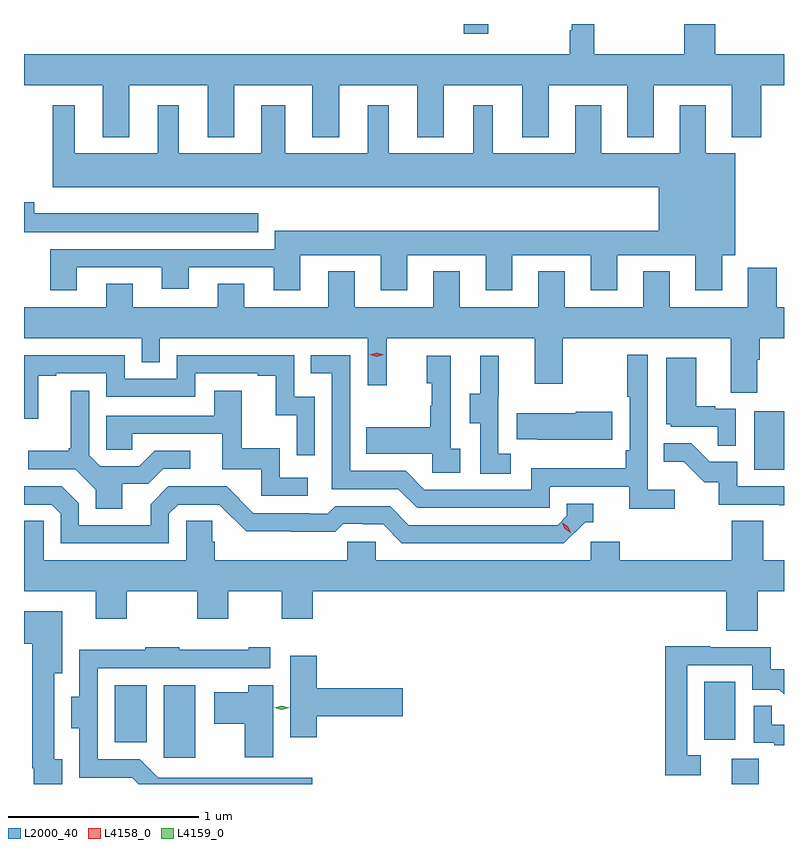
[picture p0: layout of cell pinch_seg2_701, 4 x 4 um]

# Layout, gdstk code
import gdstk
lib = gdstk.Library(unit=1e-6, precision=1e-09)
def R(c, l, rs):  # rectangles x0, y0, x1, y1
    for r in rs: c.add(gdstk.rectangle(r[:2], r[2:], *l))
def P(c, l, *ps):  # polygons
    for p in ps: c.add(gdstk.Polygon(p, *l))
L2000_40 = (2000, 40)
L4158_0 = (4158, 0)
L4159_0 = (4159, 0)

pinch_seg2_701 = lib.new_cell('pinch_seg2_701')
R(pinch_seg2_701, L2000_40, [(1117.181,596.006,1117.321,596.138), (1114.19,596.145,1114.357,596.527), (1113.932,596.225,1114.102,596.527), (1117.034,596.238,1117.198,596.545), (1117.298,597.66,1117.455,597.967), (1115.77,599.955,1115.899,600.006)])
P(pinch_seg2_701, L2000_40, [(1113.455,599.684),(1113.869,599.684),(1113.869,599.411),(1114.009,599.411),(1114.009,599.684),(1114.421,599.684),(1114.421,599.411),(1114.561,599.411),(1114.561,599.684),(1114.973,599.684),(1114.973,599.411),(1115.113,599.411),(1115.113,599.684),(1115.525,599.684),(1115.525,599.411),(1115.665,599.411),(1115.665,599.684),(1116.077,599.684),(1116.077,599.411),(1116.217,599.411),(1116.217,599.684),(1116.629,599.684),(1116.629,599.411),(1116.769,599.411),(1116.769,599.684),(1117.181,599.684),(1117.181,599.411),(1117.334,599.411),(1117.334,599.684),(1117.455,599.684),(1117.455,599.848),(1117.094,599.848),(1117.094,600.006),(1116.929,600.006),(1116.929,599.848),(1116.455,599.848),(1116.455,600.006),(1116.338,600.006),(1116.338,599.972),(1116.327,599.972),(1116.327,599.848),(1113.455,599.848)],
  [(1113.733,598.725),(1114.181,598.725),(1114.181,598.613),(1114.321,598.613),(1114.321,598.725),(1114.769,598.725),(1114.769,598.605),(1114.909,598.605),(1114.909,598.79),(1115.333,598.79),(1115.333,598.605),(1115.473,598.605),(1115.473,598.79),(1115.885,598.79),(1115.885,598.605),(1116.025,598.605),(1116.025,598.79),(1116.437,598.79),(1116.437,598.605),(1116.577,598.605),(1116.577,598.79),(1116.989,598.79),(1116.989,598.605),(1117.129,598.605),(1117.129,598.79),(1117.198,598.79),(1117.198,599.326),(1117.042,599.326),(1117.042,599.578),(1116.905,599.578),(1116.905,599.326),(1116.493,599.326),(1116.493,599.578),(1116.356,599.578),(1116.356,599.326),(1115.923,599.326),(1115.923,599.578),(1115.819,599.578),(1115.819,599.326),(1115.374,599.326),(1115.374,599.578),(1115.264,599.578),(1115.264,599.326),(1114.831,599.326),(1114.831,599.578),(1114.703,599.578),(1114.703,599.326),(1114.27,599.326),(1114.27,599.578),(1114.16,599.578),(1114.16,599.326),(1113.721,599.326),(1113.721,599.578),(1113.605,599.578),(1113.605,599.147),(1116.797,599.147),(1116.797,598.918),(1114.775,598.918),(1114.775,598.821),(1113.593,598.821),(1113.593,598.605),(1113.733,598.605)],
  [(1114.687,599.011),(1113.508,599.011),(1113.508,599.068),(1113.455,599.068),(1113.455,598.91),(1114.687,598.91)],
  [(1117.315,598.24),(1117.328,598.24),(1117.328,598.352),(1117.455,598.352),(1117.455,598.516),(1117.418,598.516),(1117.418,598.723),(1117.265,598.723),(1117.265,598.516),(1116.853,598.516),(1116.853,598.705),(1116.713,598.705),(1116.713,598.516),(1116.301,598.516),(1116.301,598.705),(1116.161,598.705),(1116.161,598.516),(1115.749,598.516),(1115.749,598.705),(1115.609,598.705),(1115.609,598.516),(1115.197,598.516),(1115.197,598.705),(1115.057,598.705),(1115.057,598.516),(1114.615,598.516),(1114.615,598.64),(1114.475,598.64),(1114.475,598.516),(1114.027,598.516),(1114.027,598.64),(1113.887,598.64),(1113.887,598.516),(1113.455,598.516),(1113.455,598.352),(1114.074,598.352),(1114.074,598.225),(1114.17,598.225),(1114.17,598.352),(1115.265,598.352),(1115.265,598.104),(1115.363,598.104),(1115.363,598.352),(1116.143,598.352),(1116.143,598.113),(1116.291,598.113),(1116.291,598.352),(1117.175,598.352),(1117.175,598.066),(1117.315,598.066)],
  [(1116.88,597.556),(1116.738,597.556),(1116.738,598.264),(1116.63,598.264),(1116.63,598.045),(1116.642,598.045),(1116.642,597.763),(1116.622,597.763),(1116.622,597.667),(1116.126,597.667),(1116.126,597.555),(1115.562,597.555),(1115.463,597.654),(1115.172,597.654),(1115.172,598.263),(1114.963,598.263),(1114.963,598.167),(1115.076,598.167),(1115.076,597.558),(1115.426,597.558),(1115.525,597.459),(1116.222,597.459),(1116.222,597.57),(1116.641,597.57),(1116.641,597.454),(1116.88,597.454)],
  [(1114.986,598.044),(1114.878,598.044),(1114.878,598.263),(1114.26,598.263),(1114.26,598.14),(1113.984,598.14),(1113.984,598.263),(1113.455,598.263),(1113.455,597.929),(1113.529,597.929),(1113.529,598.155),(1113.625,598.155),(1113.625,598.167),(1113.888,598.167),(1113.888,598.044),(1114.356,598.044),(1114.356,598.167),(1114.685,598.167),(1114.685,598.155),(1114.781,598.155),(1114.781,597.947),(1114.89,597.947),(1114.89,597.735),(1114.986,597.735)],
  [(1116.016,597.743),(1115.952,597.743),(1115.952,598.047),(1115.954,598.047),(1115.954,598.261),(1115.855,598.261),(1115.855,598.059),(1115.801,598.059),(1115.801,597.904),(1115.856,597.904),(1115.856,597.64),(1116.016,597.64)],
  [(1115.752,597.77),(1115.7,597.77),(1115.7,598.261),(1115.576,598.261),(1115.576,598.116),(1115.602,598.116),(1115.602,597.998),(1115.592,597.998),(1115.592,597.883),(1115.257,597.883),(1115.257,597.743),(1115.604,597.743),(1115.604,597.645),(1115.752,597.645)],
  [(1117.2,597.981),(1117.094,597.981),(1117.094,597.994),(1116.994,597.994),(1116.994,598.249),(1116.836,598.249),(1116.836,597.9),(1116.858,597.9),(1116.858,597.885),(1117.105,597.885),(1117.105,597.787),(1117.2,597.787)],
  [(1113.973,597.586),(1114.108,597.586),(1114.188,597.666),(1114.33,597.666),(1114.33,597.759),(1114.142,597.759),(1114.061,597.678),(1113.855,597.678),(1113.798,597.735),(1113.798,598.075),(1113.701,598.075),(1113.701,597.772),(1113.69,597.772),(1113.69,597.76),(1113.477,597.76),(1113.477,597.663),(1113.726,597.663),(1113.833,597.556),(1113.833,597.454),(1113.973,597.454)],
  [(1114.948,597.618),(1114.8,597.618),(1114.8,597.772),(1114.601,597.772),(1114.601,598.075),(1114.457,598.075),(1114.457,597.945),(1113.888,597.945),(1113.888,597.765),(1114.025,597.765),(1114.025,597.849),(1114.499,597.849),(1114.499,597.663),(1114.704,597.663),(1114.704,597.522),(1114.948,597.522)],
  [(1116.55,597.966),(1116.359,597.966),(1116.359,597.958),(1116.049,597.958),(1116.049,597.821),(1116.157,597.821),(1116.157,597.818),(1116.55,597.818)],
  [(1117.455,597.573),(1117.209,597.573),(1117.209,597.702),(1117.065,597.702),(1116.967,597.8),(1116.823,597.8),(1116.823,597.701),(1116.927,597.701),(1117.034,597.594),(1117.111,597.594),(1117.111,597.477),(1117.429,597.477),(1117.429,597.472),(1117.455,597.472)],
  [(1114.218,597.429),(1114.266,597.477),(1114.482,597.477),(1114.624,597.335),(1114.86,597.335),(1114.86,597.333),(1115.093,597.333),(1115.135,597.375),(1115.238,597.375),(1115.238,597.372),(1115.345,597.372),(1115.444,597.273),(1116.297,597.273),(1116.408,597.384),(1116.451,597.384),(1116.451,597.48),(1116.312,597.48),(1116.312,597.417),(1116.264,597.369),(1115.481,597.369),(1115.382,597.468),(1115.093,597.468),(1115.054,597.429),(1114.955,597.429),(1114.955,597.432),(1114.662,597.432),(1114.521,597.573),(1114.215,597.573),(1114.121,597.479),(1114.121,597.369),(1113.744,597.369),(1113.744,597.483),(1113.654,597.573),(1113.455,597.573),(1113.455,597.477),(1113.6,597.477),(1113.648,597.429),(1113.648,597.273),(1114.218,597.273)],
  [(1117.316,597.02),(1117.455,597.02),(1117.455,597.184),(1117.346,597.184),(1117.346,597.392),(1117.181,597.392),(1117.181,597.184),(1116.59,597.184),(1116.59,597.282),(1116.438,597.282),(1116.438,597.184),(1115.307,597.184),(1115.307,597.282),(1115.157,597.282),(1115.157,597.184),(1114.46,597.184),(1114.46,597.282),(1114.445,597.282),(1114.445,597.392),(1114.308,597.392),(1114.308,597.184),(1113.558,597.184),(1113.558,597.392),(1113.455,597.392),(1113.455,597.02),(1113.833,597.02),(1113.833,596.877),(1113.997,596.877),(1113.997,597.02),(1114.367,597.02),(1114.367,596.877),(1114.531,596.877),(1114.531,597.02),(1114.811,597.02),(1114.811,596.877),(1114.975,596.877),(1114.975,597.02),(1117.151,597.02),(1117.151,596.812),(1117.316,596.812)],
  [(1113.655,596.137),(1113.615,596.137),(1113.615,596.588),(1113.655,596.588),(1113.655,596.914),(1113.455,596.914),(1113.455,596.744),(1113.499,596.744),(1113.499,596.089),(1113.507,596.089),(1113.507,596.006),(1113.655,596.006)],
  [(1117.018,596.157),(1116.945,596.157),(1116.945,596.631),(1117.287,596.631),(1117.287,596.502),(1117.431,596.502),(1117.455,596.478),(1117.455,596.61),(1117.386,596.61),(1117.386,596.727),(1117.067,596.727),(1117.067,596.732),(1116.829,596.732),(1116.829,596.052),(1117.018,596.052)],
  [(1114.972,596.04),(1114.161,596.04),(1114.065,596.136),(1113.843,596.136),(1113.843,596.616),(1114.75,596.616),(1114.75,596.725),(1114.637,596.725),(1114.637,596.713),(1114.271,596.713),(1114.271,596.725),(1114.093,596.725),(1114.093,596.713),(1113.747,596.713),(1113.747,596.464),(1113.704,596.464),(1113.704,596.3),(1113.746,596.3),(1113.746,596.04),(1114.026,596.04),(1114.06,596.006),(1114.972,596.006)],
  [(1114.997,596.363),(1115.449,596.363),(1115.449,596.51),(1114.997,596.51),(1114.997,596.68),(1114.856,596.68),(1114.856,596.253),(1114.997,596.253)],
  [(1114.768,596.527),(1114.634,596.527),(1114.634,596.488),(1114.455,596.488),(1114.455,596.324),(1114.616,596.324),(1114.616,596.147),(1114.768,596.147)],
  [(1117.455,596.319),(1117.391,596.319),(1117.391,596.417),(1117.296,596.417),(1117.296,596.223),(1117.403,596.223),(1117.403,596.211),(1117.455,596.211)])
P(pinch_seg2_701, L4158_0, [(1116.333,597.329),(1116.302,597.349),(1116.287,597.381),(1116.287,597.382),(1116.287,597.382),(1116.317,597.362),(1116.333,597.329),(1116.333,597.329)],
  [(1115.312,598.255),(1115.276,598.266),(1115.276,598.266),(1115.276,598.266),(1115.312,598.275),(1115.348,598.265),(1115.348,598.265),(1115.348,598.265)])
P(pinch_seg2_701, L4159_0, [(1114.812,596.397),(1114.772,596.407),(1114.772,596.407),(1114.772,596.407),(1114.812,596.417),(1114.851,596.408),(1114.851,596.408),(1114.851,596.408)])

lib.write_gds('pinch_seg2_701.gds')
